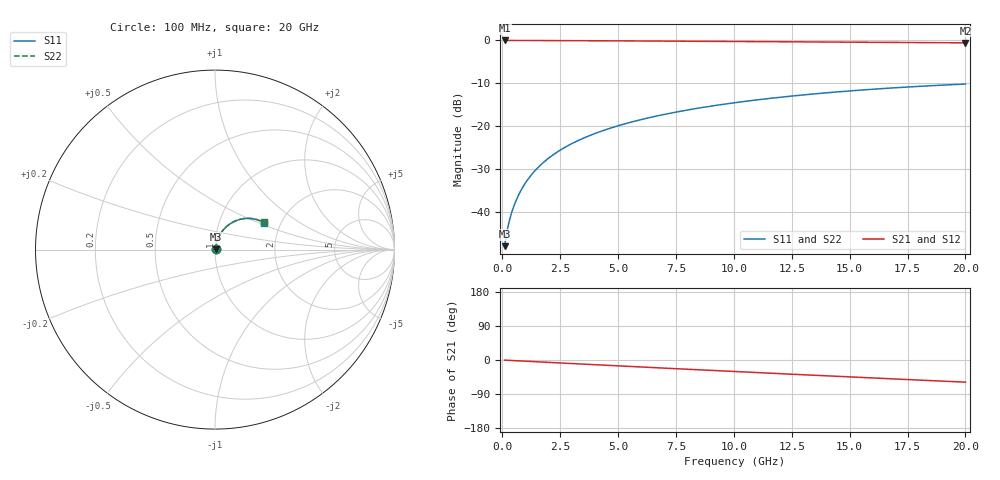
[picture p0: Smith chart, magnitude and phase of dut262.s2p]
! Touchstone file exported from HFSS 2026.1.0
!  File:  C:/ffzhzh/LocalFiles/Ansys_Project_Files/temp_train_BSMRDL_262_1782988794_6248.aedt
!  Generated:  06:41:12 PM Jul  2, 2026
!  Design:  BSMRDL
!  Project:  temp_train_BSMRDL_262_1782988794_6248
! Variables:
!  h_bsmrdl = 4.76um
!  h_ox = 20um
!  h_rdl = 5um
!  h_sub = 80um
!  h_tmrdl = 5um
!  h_tsv = 80um
!  h_via = 3um
!  l_bsmrdl = 990.52um
!  l_sub = 1390.52um
!  l_tmrdl = 200um
!  m_sub = 200um
!  pitch = 41.7um
!  r_tsv = 6um
!  s_tmrdl = 10um
!  w_bsmrdl = 26.03um
!  w_sub = 500um
!  w_tmrdl = 12um
!  x_tsv_center1 = 206um
!  x_tsv_center2 = 1222.55um
!  x_tsv_center3 = 1434.55um
!  x_tsv_center4 = 2451.1um
!  x_tsv_center5 = 2663.1um
!  x_tsv_center6 = 3679.65um
# GHz S MA R 50.000000
! Terminal data exported
! Port[1] = BSM_RDL1_1_T1
! Port[2] = BSM_RDL1_1_T2
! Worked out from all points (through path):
!   200 points, 100 MHz to 20 GHz, reference 50 ohm
!   highest |S21| = -0.03 dB at 100 MHz (marker M1); lowest = -0.6 dB at 20 GHz (marker M2)
!   group delay of S21, straight-line fit = 8.1 ps
!   lowest |S11| = -47.9 dB at 100 MHz (marker M3), VSWR 1.01, Z = 50.3 + j0.258 ohm
!   |S11| at or under -10 dB: start of sweep to end of sweep
!   |S22| runs from -47.9 to -10.2 dB; largest |S21 - S12| = 4.3e-15
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0.1  0.004043 39.3  0.9969 -0.3  0.9969 -0.3  0.004043 39.3
! Gamma 0 0 0 0
! Port Impedance 50 0 50 0
0.2  0.005967 54.0  0.9965 -0.7  0.9965 -0.7  0.005966 54.0
0.3  0.007907 61.1  0.9963 -1.0  0.9963 -1.0  0.007907 61.1
0.4  0.009851 65.6  0.9961 -1.3  0.9961 -1.3  0.00985 65.6
0.5  0.01182 68.7  0.996 -1.6  0.996 -1.6  0.01182 68.7
0.6  0.01382 71.0  0.9959 -1.9  0.9959 -1.9  0.01382 71.0
0.8  0.01788 73.8  0.9956 -2.5  0.9956 -2.5  0.01788 73.8
1.1  0.02406 75.9  0.9953 -3.5  0.9953 -3.5  0.02406 75.9
1.3  0.0282 76.6  0.9951 -4.1  0.9951 -4.1  0.0282 76.6
1.6  0.03442 76.9  0.9946 -5.0  0.9946 -5.0  0.03442 76.9
2.1  0.04471 76.6  0.9937 -6.6  0.9937 -6.6  0.04471 76.6
2.7  0.0569 75.5  0.9925 -8.5  0.9925 -8.5  0.0569 75.6
3.5  0.0728 73.7  0.9905 -10.9  0.9905 -10.9  0.07279 73.7
4.2  0.08637 71.8  0.9886 -13.0  0.9886 -13.0  0.08636 71.9
5  0.1015 69.7  0.9863 -15.5  0.9863 -15.5  0.1015 69.7
5.9  0.1181 67.2  0.9836 -18.2  0.9836 -18.2  0.1181 67.3
6.8  0.1342 64.8  0.9808 -20.9  0.9808 -20.9  0.1341 64.8
8.3  0.16 60.6  0.9759 -25.3  0.9759 -25.3  0.16 60.7
10.1  0.1892 55.7  0.9696 -30.6  0.9696 -30.6  0.1892 55.8
13.4  0.2374 46.6  0.9577 -40.1  0.9577 -40.1  0.2374 46.8
16.7  0.278 37.7  0.946 -49.4  0.946 -49.4  0.278 37.9
20  0.3104 28.9  0.9354 -58.5  0.9354 -58.5  0.3104 29.1
